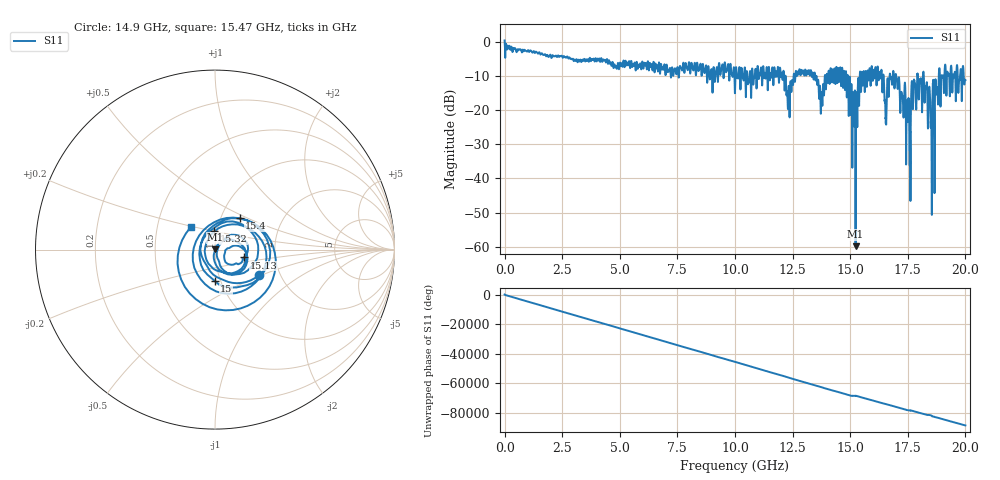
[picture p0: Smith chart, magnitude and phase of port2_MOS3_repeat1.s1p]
! MS46122B
! 2250307/22442219
! 7/28/2025 2:08:13 PM
! C:\USERS\SPARKY\DOCUMENTS\VNA_DATA\JULY28_2025\3K\PORT2_MOS3_REPEAT1.S1P
! CHANNEL.1
! TR.MEASUREMENT
! RAW.DATA
# GHZ S RI R 50.0
! FREQ.GHZ  S11RE  S11IM
!; PortSelection: Port_1
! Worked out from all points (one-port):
!   10001 points, 1 MHz to 20 GHz, reference 50 ohm
!   lowest |S11| = -59.9 dB at 15.23 GHz (marker M1), VSWR 1.00, Z = 50 + j0.0886 ohm
!   |S11| at or under -10 dB: 14.9 GHz to 15.41 GHz (517.2 MHz wide, 3.41 % of centre); 17 GHz to 17.91 GHz (911.7 MHz wide, 5.22 % of centre); 18.2 GHz to 18.84 GHz (649 MHz wide, 3.5 % of centre) (the widest 3 of 82)
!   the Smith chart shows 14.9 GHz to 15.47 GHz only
!   S11 on the Smith chart (normalised r, x): 14.9 GHz: 1.56, -0.49; 15 GHz: 0.94, -0.34; 15.13 GHz: 1.38, -0.12; 15.32 GHz: 0.97, +0.20; 15.4 GHz: 1.23, +0.45; 15.47 GHz: 0.74, +0.19
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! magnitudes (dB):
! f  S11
! 1 MHz  0.4
! 2.501 GHz  -4.3
! 5.001 GHz  -6.2
! 7.501 GHz  -7.4
! 10 GHz  -14.7
! 12.03 GHz  -9.0
! 12.31 GHz  -16.7
! 12.5 GHz  -11.9
! 13.29 GHz  -8.3
! 13.73 GHz  -20.8
! 14.48 GHz  -7.6
! 14.9 GHz  -10.9
! 15 GHz  -14.1
! 15 GHz  -15.2
! 15.13 GHz  -15.5
! 15.23 GHz  -59.9
! 15.32 GHz  -19.8
! 15.4 GHz  -13.1
! 15.47 GHz  -14.7
! 16.27 GHz  -8.8
! 16.58 GHz  -19.9
! 16.94 GHz  -12.1
! 17.5 GHz  -23.3
! 17.99 GHz  -14.7
! 18.25 GHz  -14.3
! 18.46 GHz  -16.0
! 19.05 GHz  -11.4
! 20 GHz  -11.2
